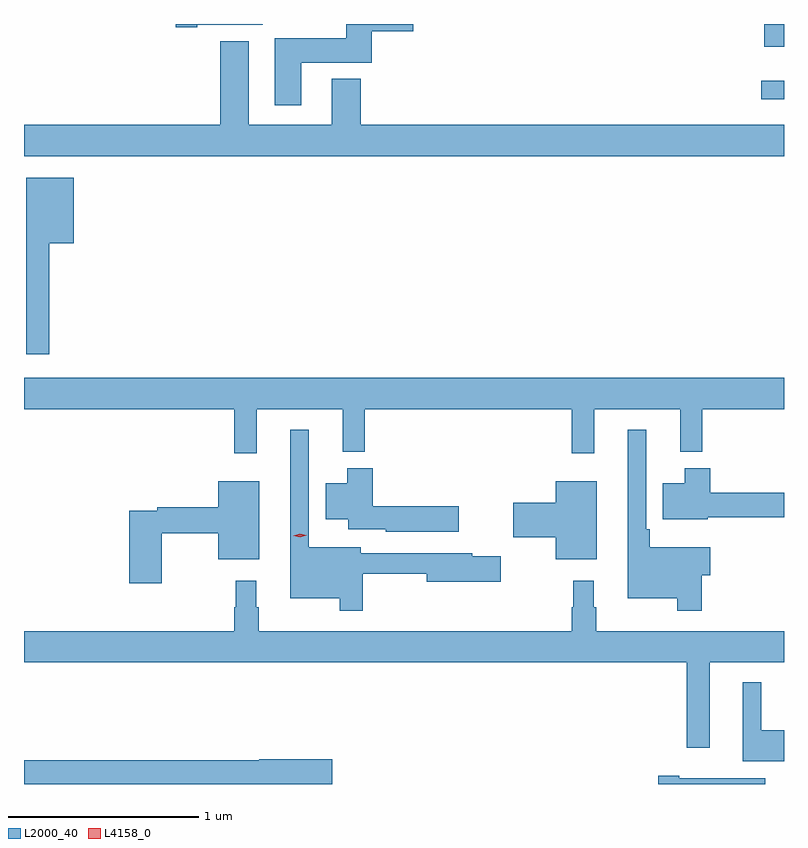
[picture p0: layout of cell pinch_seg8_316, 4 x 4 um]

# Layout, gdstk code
import gdstk
lib = gdstk.Library(unit=1e-6, precision=1e-09)
def R(c, l, rs):  # rectangles x0, y0, x1, y1
    for r in rs: c.add(gdstk.rectangle(r[:2], r[2:], *l))
def P(c, l, *ps):  # polygons
    for p in ps: c.add(gdstk.Polygon(p, *l))
L2000_40 = (2000, 40)
L4158_0 = (4158, 0)

pinch_seg8_316 = lib.new_cell('pinch_seg8_316')
R(pinch_seg8_316, L2000_40, [(613.767,1130.12,613.887,1130.217), (613.784,1130.396,613.887,1130.515)])
P(pinch_seg8_316, L2000_40, [(610.798,1130.51),(611.143,1130.51),(611.143,1130.515),(610.686,1130.515),(610.686,1130.498),(610.798,1130.498)],
  [(611.347,1130.312),(611.717,1130.312),(611.717,1130.477),(611.935,1130.477),(611.935,1130.515),(611.582,1130.515),(611.582,1130.44),(611.207,1130.44),(611.207,1130.088),(611.347,1130.088)],
  [(613.887,1129.984),(611.66,1129.984),(611.66,1130.227),(611.507,1130.227),(611.507,1129.984),(611.071,1129.984),(611.071,1130.425),(610.919,1130.425),(610.919,1129.984),(609.887,1129.984),(609.887,1129.82),(613.887,1129.82)],
  [(610.021,1129.361),(610.15,1129.361),(610.15,1129.705),(609.899,1129.705),(609.899,1128.777),(610.021,1128.777)],
  [(611.111,1128.488),(611.564,1128.488),(611.564,1128.263),(611.681,1128.263),(611.681,1128.488),(612.769,1128.488),(612.769,1128.255),(612.887,1128.255),(612.887,1128.488),(613.34,1128.488),(613.34,1128.263),(613.457,1128.263),(613.457,1128.488),(613.887,1128.488),(613.887,1128.652),(609.887,1128.652),(609.887,1128.488),(610.993,1128.488),(610.993,1128.255),(611.111,1128.255)],
  [(611.671,1127.622),(612.008,1127.622),(612.008,1127.579),(612.397,1127.579),(612.397,1127.714),(612.247,1127.714),(612.247,1127.73),(611.659,1127.73),(611.659,1127.761),(611.385,1127.761),(611.385,1128.379),(611.288,1128.379),(611.288,1127.492),(611.55,1127.492),(611.55,1127.427),(611.671,1127.427)],
  [(613.454,1127.614),(613.498,1127.614),(613.498,1127.761),(613.181,1127.761),(613.181,1127.857),(613.161,1127.857),(613.161,1128.379),(613.064,1128.379),(613.064,1127.492),(613.326,1127.492),(613.326,1127.427),(613.454,1127.427)],
  [(613.486,1127.92),(613.887,1127.92),(613.887,1128.049),(613.499,1128.049),(613.499,1128.178),(613.364,1128.178),(613.364,1128.097),(613.25,1128.097),(613.25,1127.909),(613.486,1127.909)],
  [(612.175,1127.978),(611.723,1127.978),(611.723,1128.178),(611.588,1128.178),(611.588,1128.097),(611.474,1128.097),(611.474,1127.909),(611.594,1127.909),(611.594,1127.855),(611.79,1127.855),(611.79,1127.843),(612.175,1127.843)],
  [(612.901,1128.109),(612.686,1128.109),(612.686,1127.996),(612.462,1127.996),(612.462,1127.813),(612.686,1127.813),(612.686,1127.699),(612.901,1127.699)],
  [(610.612,1127.836),(610.91,1127.836),(610.91,1127.699),(611.125,1127.699),(611.125,1128.109),(610.91,1128.109),(610.91,1127.972),(610.588,1127.972),(610.588,1127.952),(610.442,1127.952),(610.442,1127.571),(610.612,1127.571)],
  [(613.495,1127.156),(613.887,1127.156),(613.887,1127.32),(612.898,1127.32),(612.898,1127.444),(612.886,1127.444),(612.886,1127.584),(612.777,1127.584),(612.777,1127.444),(612.769,1127.444),(612.769,1127.32),(611.122,1127.32),(611.122,1127.444),(611.11,1127.444),(611.11,1127.584),(611.001,1127.584),(611.001,1127.444),(610.993,1127.444),(610.993,1127.32),(609.887,1127.32),(609.887,1127.156),(613.374,1127.156),(613.374,1126.707),(613.495,1126.707)],
  [(613.887,1126.798),(613.768,1126.798),(613.768,1127.05),(613.67,1127.05),(613.67,1126.634),(613.887,1126.634)],
  [(611.509,1126.646),(611.124,1126.646),(611.124,1126.64),(609.887,1126.64),(609.887,1126.515),(611.509,1126.515)],
  [(613.789,1126.546),(613.336,1126.546),(613.336,1126.559),(613.224,1126.559),(613.224,1126.515),(613.789,1126.515)])
P(pinch_seg8_316, L4158_0, [(611.34,1127.813),(611.303,1127.822),(611.303,1127.822),(611.303,1127.822),(611.339,1127.833),(611.375,1127.825),(611.375,1127.825),(611.375,1127.824)])

lib.write_gds('pinch_seg8_316.gds')
